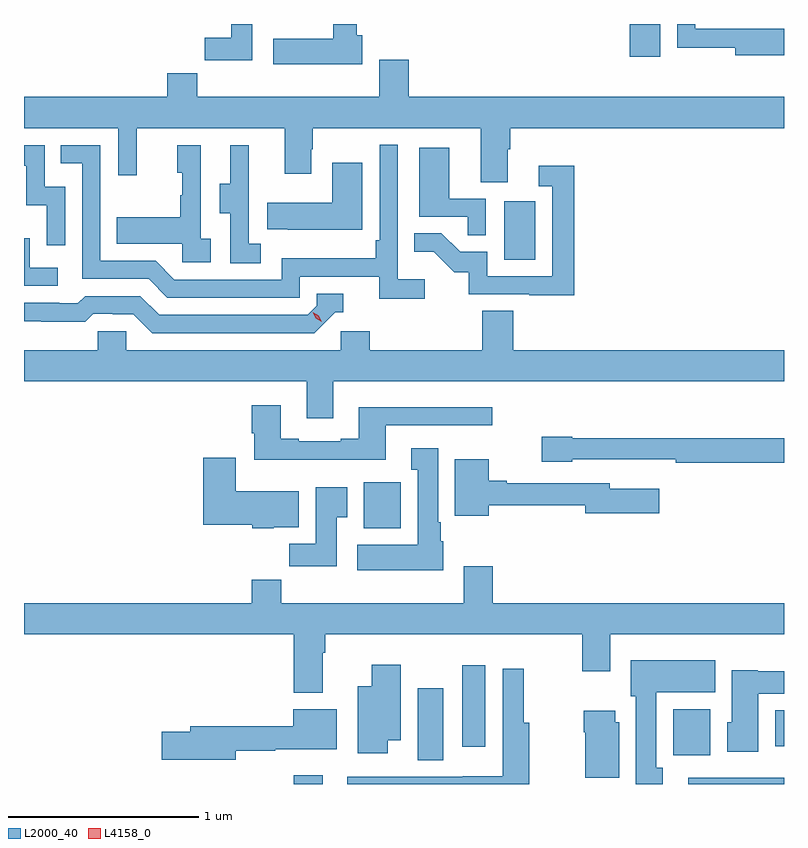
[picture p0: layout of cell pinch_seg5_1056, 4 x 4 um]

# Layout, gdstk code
import gdstk
lib = gdstk.Library(unit=1e-6, precision=1e-09)
def R(c, l, rs):  # rectangles x0, y0, x1, y1
    for r in rs: c.add(gdstk.rectangle(r[:2], r[2:], *l))
def P(c, l, *ps):  # polygons
    for p in ps: c.add(gdstk.Polygon(p, *l))
L2000_40 = (2000, 40)
L4158_0 = (4158, 0)

pinch_seg5_1056 = lib.new_cell('pinch_seg5_1056')
R(pinch_seg5_1056, L2000_40, [(881.315,863.964,881.467,864.01), (883.391,863.964,883.894,863.998), (881.966,864.088,882.1,864.469), (883.31,864.116,883.507,864.358), (882.2,864.159,882.322,864.589), (883.847,864.164,883.894,864.352), (881.681,865.31,881.878,865.552), (882.422,866.724,882.586,867.031), (883.082,867.792,883.243,867.964)])
P(pinch_seg5_1056, L2000_40, [(881.674,867.906),(881.644,867.906),(881.644,867.964),(881.522,867.964),(881.522,867.886),(881.205,867.886),(881.205,867.752),(881.674,867.752)],
  [(881.095,867.964),(880.985,867.964),(880.985,867.892),(880.846,867.892),(880.846,867.774),(881.095,867.774)],
  [(883.894,867.94),(883.741,867.94),(883.741,867.939),(883.428,867.939),(883.428,867.964),(883.332,867.964),(883.332,867.838),(883.637,867.838),(883.637,867.8),(883.894,867.8)],
  [(882.439,867.304),(882.452,867.304),(882.452,867.416),(883.894,867.416),(883.894,867.58),(881.918,867.58),(881.918,867.775),(881.765,867.775),(881.765,867.58),(880.805,867.58),(880.805,867.704),(880.649,867.704),(880.649,867.58),(879.894,867.58),(879.894,867.416),(880.389,867.416),(880.389,867.168),(880.487,867.168),(880.487,867.416),(881.267,867.416),(881.267,867.177),(881.407,867.177),(881.407,867.305),(881.415,867.305),(881.415,867.416),(882.299,867.416),(882.299,867.13),(882.439,867.13)],
  [(882.004,866.62),(881.862,866.62),(881.862,867.328),(881.766,867.328),(881.766,866.827),(881.746,866.827),(881.746,866.731),(881.25,866.731),(881.25,866.619),(880.686,866.619),(880.587,866.718),(880.296,866.718),(880.296,867.327),(880.087,867.327),(880.087,867.231),(880.2,867.231),(880.2,866.622),(880.55,866.622),(880.649,866.523),(881.346,866.523),(881.346,866.634),(881.765,866.634),(881.765,866.518),(882.004,866.518)],
  [(880.11,867.108),(880.002,867.108),(880.002,867.327),(879.894,867.327),(879.894,867.219),(879.905,867.219),(879.905,867.011),(880.014,867.011),(880.014,866.799),(880.11,866.799)],
  [(881.14,866.807),(881.076,866.807),(881.076,867.111),(881.078,867.111),(881.078,867.325),(880.979,867.325),(880.979,867.123),(880.925,867.123),(880.925,866.968),(880.98,866.968),(880.98,866.704),(881.14,866.704)],
  [(880.876,866.834),(880.824,866.834),(880.824,867.325),(880.7,867.325),(880.7,867.18),(880.726,867.18),(880.726,867.062),(880.716,867.062),(880.716,866.947),(880.381,866.947),(880.381,866.807),(880.728,866.807),(880.728,866.709),(880.876,866.709)],
  [(882.324,867.045),(882.133,867.045),(882.133,867.313),(881.975,867.313),(881.975,866.949),(882.229,866.949),(882.229,866.851),(882.324,866.851)],
  [(881.674,867.235),(881.516,867.235),(881.516,867.022),(881.173,867.022),(881.173,866.885),(881.281,866.885),(881.281,866.882),(881.674,866.882)],
  [(882.791,867.217),(882.603,867.217),(882.603,867.111),(882.675,867.111),(882.675,866.637),(882.333,866.637),(882.333,866.766),(882.189,866.766),(882.091,866.864),(881.947,866.864),(881.947,866.765),(882.051,866.765),(882.158,866.658),(882.235,866.658),(882.235,866.541),(882.553,866.541),(882.553,866.536),(882.791,866.536)],
  [(880.072,866.682),(879.924,866.682),(879.924,866.836),(879.894,866.836),(879.894,866.586),(880.072,866.586)],
  [(881.532,866.448),(881.575,866.448),(881.575,866.544),(881.436,866.544),(881.436,866.481),(881.388,866.433),(880.605,866.433),(880.506,866.532),(880.217,866.532),(880.178,866.493),(880.079,866.493),(880.079,866.496),(879.894,866.496),(879.894,866.399),(879.984,866.399),(879.984,866.397),(880.217,866.397),(880.259,866.439),(880.362,866.439),(880.362,866.436),(880.469,866.436),(880.568,866.337),(881.421,866.337)],
  [(881.521,866.084),(883.894,866.084),(883.894,866.248),(882.47,866.248),(882.47,866.456),(882.305,866.456),(882.305,866.248),(881.714,866.248),(881.714,866.346),(881.562,866.346),(881.562,866.248),(880.431,866.248),(880.431,866.346),(880.281,866.346),(880.281,866.248),(879.894,866.248),(879.894,866.084),(881.381,866.084),(881.381,865.89),(881.521,865.89)],
  [(881.797,865.851),(882.358,865.851),(882.358,865.948),(881.657,865.948),(881.657,865.78),(881.561,865.78),(881.561,865.767),(881.341,865.767),(881.341,865.78),(881.245,865.78),(881.245,865.957),(881.093,865.957),(881.093,865.809),(881.105,865.809),(881.105,865.67),(881.797,865.67)],
  [(883.894,865.783),(882.78,865.783),(882.78,865.791),(882.618,865.791),(882.618,865.661),(882.78,865.661),(882.78,865.674),(883.072,865.674),(883.072,865.673),(883.324,865.673),(883.324,865.654),(883.894,865.654)],
  [(882.1,865.242),(882.088,865.242),(882.088,865.342),(882.073,865.342),(882.073,865.732),(881.933,865.732),(881.933,865.619),(881.966,865.619),(881.966,865.222),(881.649,865.222),(881.649,865.088),(882.1,865.088)],
  [(881.208,865.316),(881.341,865.316),(881.341,865.504),(881.008,865.504),(881.008,865.681),(880.838,865.681),(880.838,865.328),(881.094,865.328),(881.094,865.31),(881.208,865.31)],
  [(882.34,865.432),(882.848,865.432),(882.848,865.39),(883.237,865.39),(883.237,865.519),(882.976,865.519),(882.976,865.548),(882.436,865.548),(882.436,865.561),(882.34,865.561),(882.34,865.672),(882.161,865.672),(882.161,865.376),(882.34,865.376)],
  [(881.539,865.369),(881.596,865.369),(881.596,865.525),(881.429,865.525),(881.429,865.228),(881.29,865.228),(881.29,865.11),(881.539,865.11)],
  [(881.467,864.656),(881.48,864.656),(881.48,864.752),(882.832,864.752),(882.832,864.558),(882.979,864.558),(882.979,864.752),(883.894,864.752),(883.894,864.916),(882.362,864.916),(882.362,865.111),(882.209,865.111),(882.209,864.916),(881.249,864.916),(881.249,865.04),(881.093,865.04),(881.093,864.916),(879.894,864.916),(879.894,864.752),(881.315,864.752),(881.315,864.443),(881.467,864.443)],
  [(883.255,864.05),(883.222,864.05),(883.222,864.446),(883.531,864.446),(883.531,864.616),(883.088,864.616),(883.088,864.426),(883.115,864.426),(883.115,863.964),(883.255,863.964)],
  [(881.809,864.194),(881.878,864.194),(881.878,864.592),(881.723,864.592),(881.723,864.478),(881.651,864.478),(881.651,864.126),(881.809,864.126)],
  [(882.552,864.286),(882.523,864.286),(882.523,864.571),(882.414,864.571),(882.414,864.004),(882.204,864.004),(882.204,864.003),(881.595,864.003),(881.595,863.964),(882.552,863.964)],
  [(883.759,864.44),(883.894,864.44),(883.894,864.558),(883.755,864.558),(883.755,864.562),(883.619,864.562),(883.619,864.288),(883.595,864.288),(883.595,864.134),(883.759,864.134)],
  [(881.008,864.139),(881.216,864.139),(881.216,864.146),(881.539,864.146),(881.539,864.358),(881.312,864.358),(881.312,864.268),(880.769,864.268),(880.769,864.239),(880.62,864.239),(880.62,864.092),(881.008,864.092)],
  [(883.027,864.288),(883.006,864.288),(883.006,864.349),(882.841,864.349),(882.841,864.236),(882.848,864.236),(882.848,863.996),(883.027,863.996)])
P(pinch_seg5_1056, L4158_0, [(881.46,866.396),(881.429,866.415),(881.413,866.448),(881.413,866.448),(881.413,866.448),(881.444,866.428),(881.46,866.396),(881.46,866.396)])

lib.write_gds('pinch_seg5_1056.gds')
